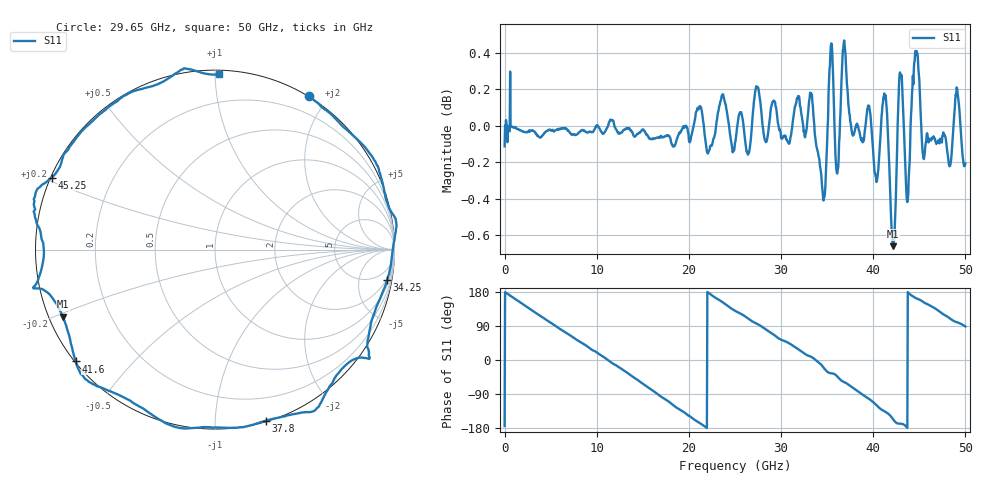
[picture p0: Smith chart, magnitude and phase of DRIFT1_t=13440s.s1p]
!Created with skrf (http://scikit-rf.org).
# Hz S RI R 50.0
!freq ReS11 ImS11
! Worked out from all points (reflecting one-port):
!   1001 points, 300 kHz to 50 GHz, reference 50 ohm
!   lowest |S11| = -0.7 dB at 42.15 GHz (marker M1), VSWR 26.36, Z = 1.98 - j10.5 ohm
!   phase of S11 starts at -174 deg and turns -817 deg over the sweep
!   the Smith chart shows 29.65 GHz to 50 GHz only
!   S11 on the Smith chart (normalised r, x): 29.65 GHz: -0.00, +1.79; 34.25 GHz: 2, -11; 37.8 GHz: 0.01, -1.34; 41.6 GHz: 0.00, -0.35; 45.25 GHz: 0.00, +0.21; 50 GHz: 0.02, +1.03
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300000  -0.9822 -0.099
1.500291e9  -0.9056 0.4187
3.25028e9  -0.5916 0.8018
6.250262e9  0.2026 0.9776
9.500243e9  0.8926 0.4421
1.250022e10  0.9318 -0.3495
1.580021e10  0.2367 -0.9631
1.74002e10  -0.2243 -0.9679
1.875019e10  -0.5989 -0.7918
2.150017e10  -0.994 -0.1494
2.350016e10  -0.9228 0.4279
2.500015e10  -0.6341 0.7596
2.740014e10  -0.0945 1.02
2.965012e10  0.5252 0.8535
3.125011e10  0.7869 0.6202
3.31001e10  1.002 0.1776
3.425009e10  0.9598 -0.1669
3.520009e10  0.8572 -0.5684
3.750008e10  0.3713 -0.9318
3.780007e10  0.2848 -0.9522
3.955006e10  -0.2209 -0.9885
4.160005e10  -0.7764 -0.6231
4.215005e10  -0.848 -0.3743
4.290004e10  -1.012 -0.2163
4.375004e10  -0.9549 0.0131
4.525003e10  -0.9102 0.4015
4.770001e10  -0.4887 0.8657
5e10  0.0248 0.9762
